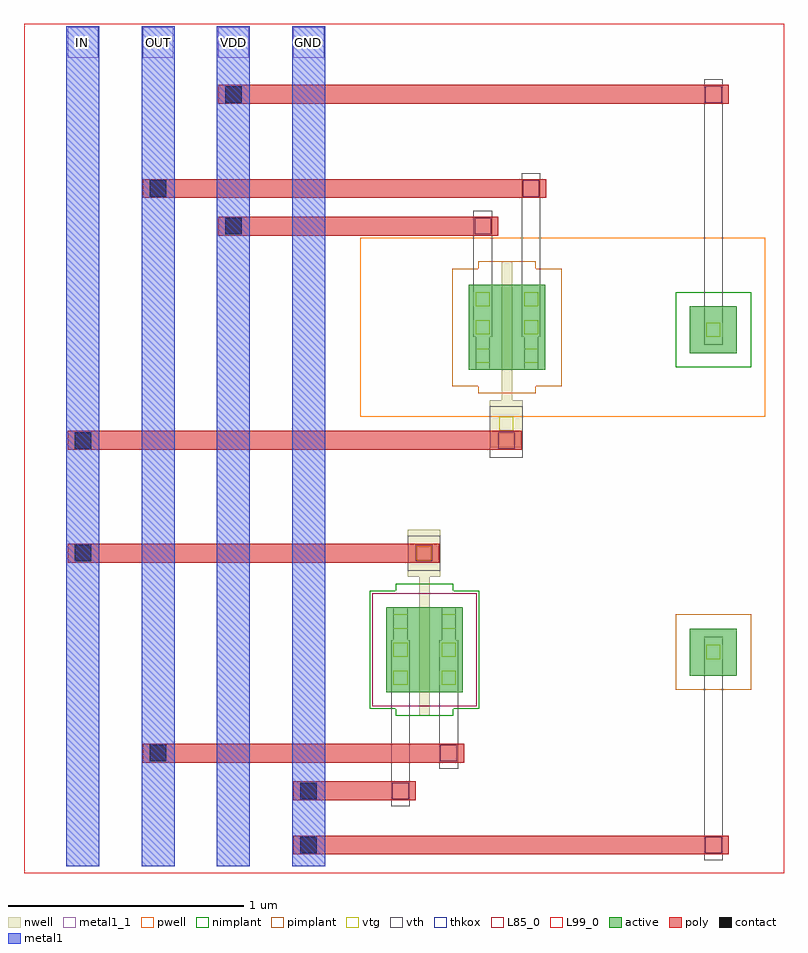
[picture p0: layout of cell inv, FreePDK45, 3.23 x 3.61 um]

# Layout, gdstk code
import gdstk
lib = gdstk.Library(unit=1e-6, precision=5e-10)
def R(c, l, rs):  # rectangles x0, y0, x1, y1
    for r in rs: c.add(gdstk.rectangle(r[:2], r[2:], *l))
def A(c, l, x, y, w, h, nx, ny, dx, dy):  # array of equal rectangles
    R(c, l, [(x+i*dx, y+j*dy, x+i*dx+w, y+j*dy+h) for i in range(nx) for j in range(ny)])
active = (1, 0)
pwell = (2, 0)
nwell = (3, 0)
nimplant = (4, 0)
pimplant = (5, 0)
vtg = (6, 0)
vth = (7, 0)
thkox = (8, 0)
poly = (9, 0)
contact = (10, 0)
metal1 = (11, 0)
metal1_1 = (11, 1)
L85_0 = (85, 0)
L99_0 = (99, 0)

nmos1v_cdns_794040155650 = lib.new_cell('nmos1v_CDNS_794040155650')
R(nmos1v_cdns_794040155650, active, [(-0.14,0,0,0.36), (0,0,0.045,0.36), (0.045,0,0.185,0.36)])
R(nmos1v_cdns_794040155650, nwell, [(0,-0.1,0.045,-0.05), (0,-0.05,0.045,0), (0,0,0.045,0.36), (0,0.36,0.045,0.41), (0,0.41,0.045,0.46)])
R(nmos1v_cdns_794040155650, nimplant, [(-0.1,-0.1,0.145,0.46), (-0.21,-0.07,0.255,0.43)])
A(nmos1v_cdns_794040155650, vtg, -0.11, 0.03, 0.06, 0.06, 1, 3, 0, 0.12)
A(nmos1v_cdns_794040155650, vtg, 0.095, 0.03, 0.06, 0.06, 1, 3, 0, 0.12)
R(nmos1v_cdns_794040155650, vth, [(-0.11,0,-0.05,0.36), (0.095,0,0.155,0.36)])
R(nmos1v_cdns_794040155650, L85_0, [(-0.2,-0.06,0.245,0.42)])

pmos1v_cdns_794040155651 = lib.new_cell('pmos1v_CDNS_794040155651')
R(pmos1v_cdns_794040155651, active, [(-0.14,0,0,0.36), (0,0,0.045,0.36), (0.045,0,0.185,0.36)])
R(pmos1v_cdns_794040155651, pwell, [(-0.2,-0.06,0.245,0.42)])
R(pmos1v_cdns_794040155651, nwell, [(0,-0.1,0.045,-0.05), (0,-0.05,0.045,0), (0,0,0.045,0.36), (0,0.36,0.045,0.41), (0,0.41,0.045,0.46)])
R(pmos1v_cdns_794040155651, pimplant, [(-0.1,-0.1,0.145,0.46), (-0.21,-0.07,0.255,0.43)])
A(pmos1v_cdns_794040155651, vtg, -0.11, 0.03, 0.06, 0.06, 1, 3, 0, 0.12)
A(pmos1v_cdns_794040155651, vtg, 0.095, 0.03, 0.06, 0.06, 1, 3, 0, 0.12)
R(pmos1v_cdns_794040155651, vth, [(-0.11,0,-0.05,0.36), (0.095,0,0.155,0.36)])

inv = lib.new_cell('inv')
R(inv, active, [(2.83,0.84,3.03,1.04), (2.83,2.21,3.03,2.41)])
R(inv, pwell, [(1.43,1.94,3.15,2.7)])
R(inv, nwell, [(1.68,1.18,1.725,1.46), (1.63,1.26,1.77,1.46), (1.98,1.81,2.12,2.01), (2.03,1.81,2.075,2.09)])
R(inv, nimplant, [(2.77,2.15,3.09,2.47)])
R(inv, pimplant, [(2.77,0.78,3.09,1.1)])
R(inv, vtg, [(2.9,0.91,2.96,0.97), (1.67,1.33,1.73,1.39), (2.02,1.88,2.08,1.94), (2.9,2.28,2.96,2.34)])
R(inv, vth, [(2.89,0.055,2.97,0.185), (2.89,0.08,2.97,0.98), (1.56,0.285,1.64,0.415), (1.56,0.31,1.64,0.99), (1.765,0.445,1.845,0.575), (1.765,0.47,1.845,0.99), (2.89,0.875,2.97,1.005), (1.63,1.285,1.77,1.435), (1.63,1.285,1.77,1.435), (1.63,1.29,1.77,1.43), (1.98,1.765,2.12,1.915), (1.98,1.77,2.12,1.98), (1.98,1.835,2.12,1.985), (2.89,2.245,2.97,2.375), (2.89,2.27,2.97,3.35), (1.91,2.28,1.99,2.79), (2.115,2.28,2.195,2.95), (1.91,2.685,1.99,2.815), (2.115,2.845,2.195,2.975), (2.89,3.245,2.97,3.375)])
R(inv, thkox, [(2.895,0.085,2.965,0.155), (1.565,0.315,1.635,0.385), (1.77,0.475,1.84,0.545), (1.665,1.325,1.735,1.395), (2.015,1.805,2.085,1.875), (1.915,2.715,1.985,2.785), (2.12,2.875,2.19,2.945), (2.895,3.275,2.965,3.345)])
R(inv, poly, [(1.145,0.08,1.275,0.16), (1.17,0.08,2.97,0.16), (2.865,0.08,2.995,0.16), (1.145,0.31,1.275,0.39), (1.17,0.31,1.64,0.39), (1.535,0.31,1.665,0.39), (0.505,0.47,0.635,0.55), (0.53,0.47,1.845,0.55), (1.74,0.47,1.87,0.55), (0.185,1.32,0.315,1.4), (0.21,1.32,1.74,1.4), (1.635,1.32,1.765,1.4), (0.185,1.8,0.315,1.88), (0.21,1.8,2.09,1.88), (1.985,1.8,2.115,1.88), (0.825,2.71,0.955,2.79), (0.85,2.71,1.99,2.79), (1.885,2.71,2.015,2.79), (0.505,2.87,0.635,2.95), (0.53,2.87,2.195,2.95), (2.09,2.87,2.22,2.95), (0.825,3.27,0.955,3.35), (0.85,3.27,2.97,3.35), (2.865,3.27,2.995,3.35)])
R(inv, contact, [(1.175,0.085,1.245,0.155), (1.175,0.315,1.245,0.385), (0.535,0.475,0.605,0.545), (0.215,1.325,0.285,1.395), (0.215,1.805,0.285,1.875), (0.855,2.715,0.925,2.785), (0.535,2.875,0.605,2.945), (0.855,3.275,0.925,3.345)])
A(inv, metal1, 0.18, 0.03, 0.14, 3.57, 4, 1, 0.32, 0)
R(inv, metal1, [(1.17,0.055,1.25,0.185), (1.17,0.285,1.25,0.415), (0.53,0.445,0.61,0.575), (0.21,1.295,0.29,1.425), (0.21,1.775,0.29,1.905), (0.85,2.685,0.93,2.815), (0.53,2.845,0.61,2.975), (0.85,3.245,0.93,3.375)])
A(inv, metal1_1, 0.185, 3.465, 0.13, 0.13, 4, 1, 0.32, 0)
R(inv, L99_0, [(0,0,3.23,3.61)])
inv.add(gdstk.Reference(nmos1v_cdns_794040155650, (1.68,0.77)))
inv.add(gdstk.Reference(pmos1v_cdns_794040155651, (2.03,2.14)))
inv.add(gdstk.Label('GND', (1.21,3.53), layer=11, texttype=3))
inv.add(gdstk.Label('VDD', (0.89,3.53), layer=11, texttype=3))
inv.add(gdstk.Label('OUT', (0.57,3.53), layer=11, texttype=3))
inv.add(gdstk.Label('IN', (0.25,3.53), layer=11, texttype=3))

lib.write_gds('inv.gds')
